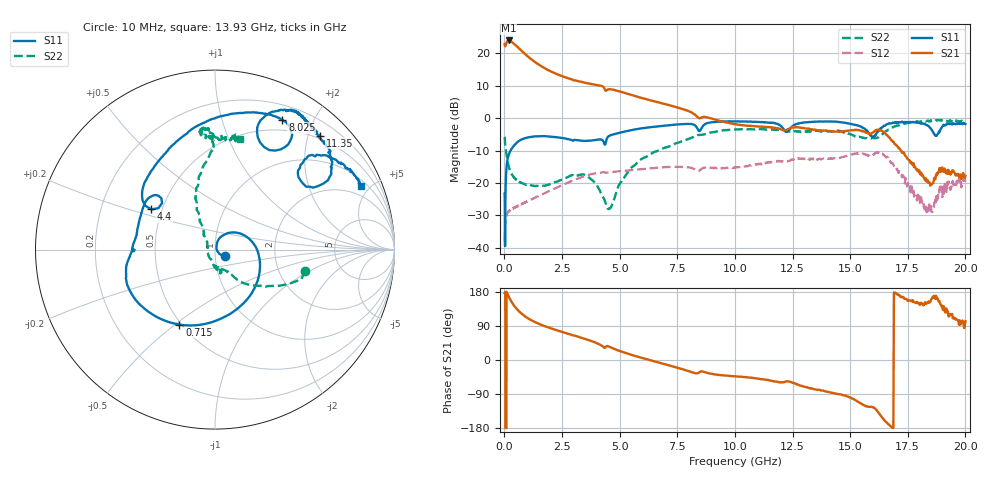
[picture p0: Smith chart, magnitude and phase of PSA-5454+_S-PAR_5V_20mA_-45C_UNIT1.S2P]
!Mini-Circuits Laboratory
!S-Parameters
!Model: PSA-5454+
!Run / Lot / Date Code: NA / AP210P001-04-A#PB / 0913
!Fixture: SOLDERED TO TB-533+
!Network Analyzer: PNA-X N5242A - 423 4 ports;  Serial number: 71013
!Date: 10/22/2009 at 4:36:30 PM
!S/N: Unit# 1
!Tested with:
!Vdd=5V for Idd=20mA Temprature: -45C
# Hz  S  dB  R  50
!Frequency  S11 dB  S11 Deg  S21 dB  S21 Deg  S12 dB  S12 Deg  S22 dB  S22 Deg
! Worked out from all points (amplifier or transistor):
!   959 points, 10 MHz to 20 GHz, reference 50 ohm
!   highest |S21| = 24.0 dB at 185 MHz (marker M1)
!   |S21| within 3 dB of that: start of sweep to 714.5 MHz
!   unconditionally stable (mu >= 1): 1.333 GHz to 9.399 GHz; 11.28 GHz to 12.76 GHz; 14.99 GHz to end of sweep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
!   at 805 MHz: K = 0.96, MSG = 23.4 dB, |S12| = -26.3 dB
!   at 8.025 GHz: K = 1.07, MAG = 7.0 dB, |S12| = -15.2 dB
!   at 20 GHz: K = 3.61, MAG = -7.2 dB, |S12| = -20.5 dB
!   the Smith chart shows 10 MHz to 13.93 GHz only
!   S11 on the Smith chart (normalised r, x): 10 MHz: 1.12, -0.08; 715 MHz: 0.49, -0.52; 4.4 GHz: 0.44, +0.24; 8.025 GHz: 0.37, +1.59; 11.35 GHz: 0.44, +2.21; 13.93 GHz: 1.34, +4.45
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1e7  -23.28 -33.1  22.83 176.5  -37.93 87.1  -5.77 -13.3
4e7  -27.41 73.4  22.21 179.5  -32.68 39.3  -8.56 -32.9
8e7  -16.52 39.7  23.01 -178.8  -30.65 32.1  -10.76 -43.4
1.3e8  -12.87 4.1  23.78 175.2  -29.40 25.7  -12.93 -51.7
1.85e8  -11.35 -22.4  23.97 167.6  -28.72 23.4  -14.80 -55.5
2.9e8  -9.73 -55.2  23.68 155.5  -28.22 23.0  -16.95 -60.0
4.05e8  -8.59 -79.2  23.05 144.8  -27.76 23.6  -18.24 -66.6
5.45e8  -7.51 -99.0  22.13 134.1  -27.26 26.1  -19.17 -73.1
7.15e8  -6.70 -115.4  20.97 123.9  -26.65 29.1  -19.88 -80.4
1e9  -5.99 -133.8  19.14 110.9  -25.66 32.8  -20.55 -89.3
1.55e9  -5.58 -153.4  16.26 94.1  -23.81 38.4  -20.81 -91.2
3.35e9  -6.99 171.7  11.16 58.6  -18.22 36.2  -17.36 -77.5
4.4e9  -7.56 147.6  8.44 34.9  -16.84 21.7  -26.37 -140.0
6.675e9  -2.54 86.5  4.88 -6.1  -15.28 4.5  -10.02 109.9
8.025e9  -1.79 62.5  2.07 -29.9  -15.23 -10.2  -6.33 96.8
1.0025e10  -1.01 59.3  -1.84 -42.9  -15.07 -14.3  -3.48 93.3
1.135e10  -1.27 47.4  -2.72 -52.5  -13.92 -19.7  -3.52 97.7
1.335e10  -1.14 29.4  -3.45 -75.6  -12.50 -41.6  -3.96 80.5
1.3925e10  -1.03 23.4  -3.86 -82.8  -12.57 -45.5  -4.01 77.2
1.6675e10  -1.64 -59.4  -5.79 -170.1  -12.58 -132.5  -3.50 -21.6
1.83e10  -2.07 -70.5  -19.46 148.3  -27.67 141.1  -0.90 -44.5
2e10  -1.81 -15.1  -17.86 102.4  -20.46 88.8  -1.13 -31.9
